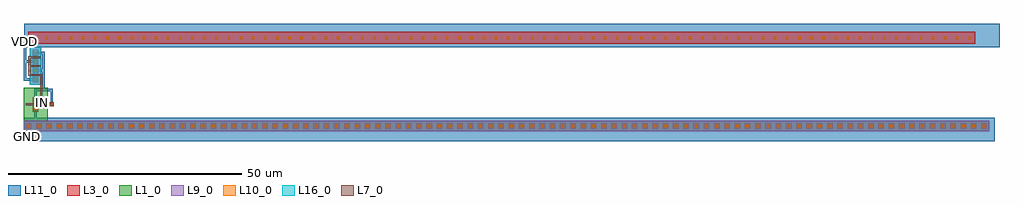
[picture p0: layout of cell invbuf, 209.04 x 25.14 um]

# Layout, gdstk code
from math import pi, radians
import gdstk
lib = gdstk.Library(unit=1e-6, precision=1e-09)
def R(c, l, rs):  # rectangles x0, y0, x1, y1
    for r in rs: c.add(gdstk.rectangle(r[:2], r[2:], *l))
def A(c, l, x, y, w, h, nx, ny, dx, dy):  # array of equal rectangles
    R(c, l, [(x+i*dx, y+j*dy, x+i*dx+w, y+j*dy+h) for i in range(nx) for j in range(ny)])
L1_0 = (1, 0)
L3_0 = (3, 0)
L7_0 = (7, 0)
L9_0 = (9, 0)
L10_0 = (10, 0)
L11_0 = (11, 0)
L16_0 = (16, 0)

inv0_3 = lib.new_cell('inv0$3')

dcont = lib.new_cell('dcont')
R(dcont, L3_0, [(-0.6,-0.6,0.6,0.6)])
R(dcont, L10_0, [(-0.25,-0.25,0.25,0.25)])

pch_3 = lib.new_cell('Pch$3')
R(pch_3, L3_0, [(0,1.7,6.9,2.9)])
R(pch_3, L9_0, [(-0.6,1.1,7.5,3.5)])
R(pch_3, L16_0, [(-0.6,1.1,7.5,3.5)])
pch_3.add(gdstk.FlexPath([(0.6,1.7),(0.6,2.9)], 1.2, ends="flush", simple_path=True, layer=11, datatype=0))  # L11_0
pch_3.add(gdstk.FlexPath([(2.5,1.7),(2.5,2.9)], 1.2, ends="flush", simple_path=True, layer=11, datatype=0))  # L11_0
pch_3.add(gdstk.FlexPath([(4.4,1.7),(4.4,2.9)], 1.2, ends="flush", simple_path=True, layer=11, datatype=0))  # L11_0
pch_3.add(gdstk.FlexPath([(6.3,1.7),(6.3,2.9)], 1.2, ends="flush", simple_path=True, layer=11, datatype=0))  # L11_0
pch_3.add(gdstk.FlexPath([(0.6,2.4),(0.6,4)], 0.5, ends="flush", simple_path=True, layer=11, datatype=0))  # L11_0
pch_3.add(gdstk.FlexPath([(2.5,0.1),(2.5,2.2)], 0.5, ends="flush", simple_path=True, layer=11, datatype=0))  # L11_0
pch_3.add(gdstk.FlexPath([(4.4,2.4),(4.4,4)], 0.5, ends="flush", simple_path=True, layer=11, datatype=0))  # L11_0
pch_3.add(gdstk.FlexPath([(0.6,4),(4.4,4)], 0.5, ends="extended", simple_path=True, layer=11, datatype=0))  # L11_0
pch_3.add(gdstk.FlexPath([(6.3,0.1),(6.3,2.2)], 0.5, ends="flush", simple_path=True, layer=11, datatype=0))  # L11_0
pch_3.add(gdstk.FlexPath([(2.5,0.1),(6.3,0.1)], 0.5, ends="extended", simple_path=True, layer=11, datatype=0))  # L11_0
pch_3.add(gdstk.FlexPath([(1.55,1.7),(1.55,2.9)], 0.4, ends=(0.4, 0.4), simple_path=True, layer=7, datatype=0))  # L7_0
pch_3.add(gdstk.FlexPath([(3.45,1.7),(3.45,2.9)], 0.4, ends=(0.4, 0.4), simple_path=True, layer=7, datatype=0))  # L7_0
pch_3.add(gdstk.FlexPath([(5.35,1.7),(5.35,2.9)], 0.4, ends=(0.4, 0.4), simple_path=True, layer=7, datatype=0))  # L7_0
pch_3.add(gdstk.FlexPath([(1.35,1.05),(3.65,1.05)], 0.5, ends="flush", simple_path=True, layer=7, datatype=0))  # L7_0
pch_3.add(gdstk.FlexPath([(3.25,1.05),(5.55,1.05)], 0.5, ends="flush", simple_path=True, layer=7, datatype=0))  # L7_0
pch_3.add(gdstk.Reference(dcont, (0.6,2.3)))
pch_3.add(gdstk.Reference(dcont, (2.5,2.3)))
pch_3.add(gdstk.Reference(dcont, (4.4,2.3)))
pch_3.add(gdstk.Reference(dcont, (6.3,2.3)))

pcont = lib.new_cell('pcont')
R(pcont, L7_0, [(-0.45,-0.45,0.45,0.45)])
R(pcont, L10_0, [(-0.25,-0.25,0.25,0.25)])
R(pcont, L11_0, [(-0.45,-0.45,0.45,0.45)])

nch_3 = lib.new_cell('Nch$3')
R(nch_3, L1_0, [(-2,-0.3,5.1,4.9)])
R(nch_3, L3_0, [(0,1.7,3.1,2.9)])
nch_3.add(gdstk.FlexPath([(0.6,1.7),(0.6,2.9)], 1.2, ends="flush", simple_path=True, layer=11, datatype=0))  # L11_0
nch_3.add(gdstk.FlexPath([(2.5,1.7),(2.5,2.9)], 1.2, ends="flush", simple_path=True, layer=11, datatype=0))  # L11_0
nch_3.add(gdstk.FlexPath([(1.55,1.7),(1.55,2.9)], 0.4, ends=(0.4, 0.4), simple_path=True, layer=7, datatype=0))  # L7_0
nch_3.add(gdstk.FlexPath([(1.55,4.1),(1.55,3.3)], 1.2, ends="flush", simple_path=True, layer=7, datatype=0))  # L7_0
nch_3.add(gdstk.Reference(dcont, (0.6,2.3)))
nch_3.add(gdstk.Reference(dcont, (2.5,2.3)))
nch_3.add(gdstk.Reference(pcont, (1.55,4.1)))

nch_4 = lib.new_cell('Nch$4')
R(nch_4, L1_0, [(-2,-0.3,5.1,4.9)])
R(nch_4, L3_0, [(0,1.7,3.1,2.9)])
nch_4.add(gdstk.FlexPath([(0.6,1.7),(0.6,2.9)], 1.2, ends="flush", simple_path=True, layer=11, datatype=0))  # L11_0
nch_4.add(gdstk.FlexPath([(2.5,1.7),(2.5,2.9)], 1.2, ends="flush", simple_path=True, layer=11, datatype=0))  # L11_0
nch_4.add(gdstk.FlexPath([(1.55,1.7),(1.55,2.9)], 0.4, ends=(0.4, 0.4), simple_path=True, layer=7, datatype=0))  # L7_0
nch_4.add(gdstk.FlexPath([(1.55,4.1),(1.55,3.3)], 1.2, ends="flush", simple_path=True, layer=7, datatype=0))  # L7_0
nch_4.add(gdstk.Reference(dcont, (0.6,2.3)))
nch_4.add(gdstk.Reference(dcont, (2.5,2.3)))
nch_4.add(gdstk.Reference(pcont, (1.55,4.1)))

inv_citizen = lib.new_cell('INV_Citizen')
inv_citizen.add(gdstk.FlexPath([(39.59,1.53),(39.59,-1.6)], 0.5, ends="flush", simple_path=True, layer=11, datatype=0))  # L11_0
inv_citizen.add(gdstk.FlexPath([(41.24,9.73),(41.24,5.52),(39.59,5.52),(39.59,3.43)], 0.5, ends="flush", simple_path=True, layer=11, datatype=0))  # L11_0
inv_citizen.add(gdstk.FlexPath([(37.34,11.63),(37.34,15.91)], 0.5, ends="flush", simple_path=True, layer=11, datatype=0))  # L11_0
inv_citizen.add(gdstk.FlexPath([(40.14,8.78),(40.79,8.78),(40.79,2.68)], 0.4, ends="flush", simple_path=True, layer=7, datatype=0))  # L7_0
inv_citizen.add(gdstk.Reference(pch_3, (37.24,14.13), rotation=3*pi/2))
inv_citizen.add(gdstk.Reference(nch_3, (37.29,4.03), rotation=3*pi/2))
inv_citizen.add(gdstk.Reference(nch_4, (37.29,4.03), rotation=3*pi/2))

pcont_1 = lib.new_cell('pcont$1')
R(pcont_1, L7_0, [(-0.45,-0.45,0.45,0.45)])
R(pcont_1, L10_0, [(-0.25,-0.25,0.25,0.25)])
R(pcont_1, L11_0, [(-0.45,-0.45,0.45,0.45)])

nsub_line_2 = lib.new_cell('Nsub_line$2')
R(nsub_line_2, L3_0, [(0,-1.3,202.8,1.3)])
A(nsub_line_2, L10_0, 1.05, -0.25, 0.5, 0.5, 78, 1, 2.6, 0)
nsub_line_2.add(gdstk.FlexPath([(0,0),(202.8,0)], 0.9, ends="flush", simple_path=True, layer=11, datatype=0))  # L11_0

psub_line = lib.new_cell('Psub_line')
R(psub_line, L1_0, [(0,-1.1,206.8,1.1)])
A(psub_line, L3_0, 0.5, -0.6, 1.2, 1.2, 94, 1, 2.2, 0)
R(psub_line, L9_0, [(0,-1.1,206.8,1.1)])
A(psub_line, L10_0, 0.85, -0.25, 0.5, 0.5, 94, 1, 2.2, 0)
psub_line.add(gdstk.FlexPath([(0,0),(206.8,0)], 0.9, ends="flush", simple_path=True, layer=11, datatype=0))  # L11_0

invbuf = lib.new_cell('invbuf')
invbuf.add(gdstk.FlexPath([(37.16,18.13),(246.07,18.13)], 5, ends="flush", simple_path=True, layer=11, datatype=0))  # L11_0
invbuf.add(gdstk.FlexPath([(41.28,6.42),(43.08,6.42),(43.08,3.38)], 0.5, ends="flush", simple_path=True, layer=11, datatype=0))  # L11_0
invbuf.add(gdstk.FlexPath([(37.03,-2.01),(245.04,-2.01)], 5, ends="flush", simple_path=True, layer=11, datatype=0))  # L11_0
invbuf.add(gdstk.FlexPath([(39.03,3.38),(37.54,3.38)], 0.4, ends="flush", simple_path=True, layer=7, datatype=0))  # L7_0
invbuf.add(gdstk.Reference(inv0_3, (38.85,19.11)))
invbuf.add(gdstk.Reference(inv_citizen, (0.04,0.9)))
invbuf.add(gdstk.Reference(pcont_1, (43.08,3.41)))
invbuf.add(gdstk.Reference(nsub_line_2, (38.1,17.62)))
invbuf.add(gdstk.Reference(psub_line, (37.03,-1.27)))
invbuf.add(gdstk.Label('GND', (37.83,-3.46), layer=11, texttype=0))
invbuf.add(gdstk.Label('IN', (41.13,3.73), layer=11, texttype=0))
invbuf.add(gdstk.Label('OUT', (43.07,6.42), layer=11, texttype=0))
invbuf.add(gdstk.Label('VDD', (37.21,16.81), layer=11, texttype=0))

lib.write_gds('invbuf.gds')
